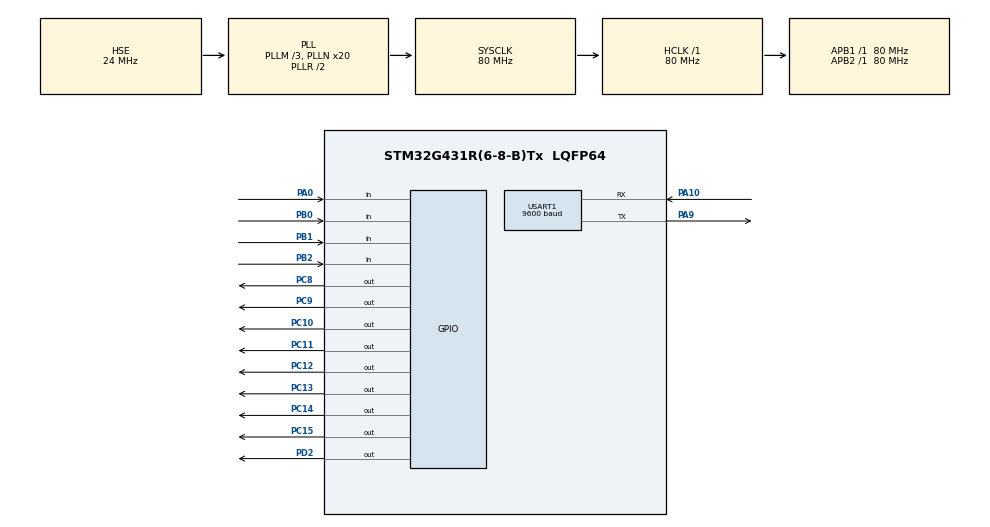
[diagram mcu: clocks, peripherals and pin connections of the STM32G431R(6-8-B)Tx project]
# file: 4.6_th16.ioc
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Dma.Request0=USART1_RX
Dma.Request1=USART1_TX
Dma.USART1_RX.0.Direction=DMA_PERIPH_TO_MEMORY
Dma.USART1_RX.0.EventEnable=DISABLE
Dma.USART1_RX.0.Instance=DMA1_Channel1
Dma.USART1_RX.0.MemDataAlignment=DMA_MDATAALIGN_BYTE
Dma.USART1_RX.0.MemInc=DMA_MINC_ENABLE
Dma.USART1_RX.0.Mode=DMA_NORMAL
Dma.USART1_RX.0.PeriphDataAlignment=DMA_PDATAALIGN_BYTE
Dma.USART1_RX.0.PeriphInc=DMA_PINC_DISABLE
Dma.USART1_RX.0.Polarity=HAL_DMAMUX_REQ_GEN_RISING
Dma.USART1_RX.0.Priority=DMA_PRIORITY_LOW
Dma.USART1_RX.0.RequestNumber=1
Dma.USART1_RX.0.SignalID=NONE
Dma.USART1_RX.0.SyncEnable=DISABLE
Dma.USART1_RX.0.SyncPolarity=HAL_DMAMUX_SYNC_NO_EVENT
Dma.USART1_RX.0.SyncRequestNumber=1
Dma.USART1_RX.0.SyncSignalID=NONE
Dma.USART1_TX.1.Direction=DMA_MEMORY_TO_PERIPH
Dma.USART1_TX.1.EventEnable=DISABLE
Dma.USART1_TX.1.Instance=DMA1_Channel2
Dma.USART1_TX.1.MemDataAlignment=DMA_MDATAALIGN_BYTE
Dma.USART1_TX.1.MemInc=DMA_MINC_ENABLE
Dma.USART1_TX.1.Mode=DMA_NORMAL
Dma.USART1_TX.1.PeriphDataAlignment=DMA_PDATAALIGN_BYTE
Dma.USART1_TX.1.PeriphInc=DMA_PINC_DISABLE
Dma.USART1_TX.1.Polarity=HAL_DMAMUX_REQ_GEN_RISING
Dma.USART1_TX.1.Priority=DMA_PRIORITY_LOW
Dma.USART1_TX.1.RequestNumber=1
Dma.USART1_TX.1.SignalID=NONE
Dma.USART1_TX.1.SyncEnable=DISABLE
Dma.USART1_TX.1.SyncPolarity=HAL_DMAMUX_SYNC_NO_EVENT
Dma.USART1_TX.1.SyncRequestNumber=1
Dma.USART1_TX.1.SyncSignalID=NONE
Mcu.Family=STM32G4
Mcu.Name=STM32G431R(6-8-B)Tx
Mcu.Package=LQFP64
NVIC.DMA1_Channel1_IRQn=true\:0\:0\:false\:false\:true\:false\:true\:true
NVIC.DMA1_Channel2_IRQn=true\:0\:0\:false\:false\:true\:false\:true\:true
NVIC.PriorityGroup=NVIC_PRIORITYGROUP_4
NVIC.RTC_Alarm_IRQn=true\:0\:0\:false\:false\:true\:true\:true\:true
NVIC.TIM1_UP_TIM16_IRQn=true\:0\:0\:false\:false\:true\:true\:true\:true
NVIC.USART1_IRQn=true\:0\:0\:false\:false\:true\:true\:true\:true
PA0.GPIO_Mode=GPIO_MODE_INPUT
PA0.GPIO_PuPd=GPIO_NOPULL
PA0.Signal=GPIO_Input
PA10.Mode=Asynchronous
PA10.Signal=USART1_RX
PA13.Mode=Serial_Wire
PA13.Signal=SYS_JTMS-SWDIO
PA14.Mode=Serial_Wire
PA14.Signal=SYS_JTCK-SWCLK
PA9.Mode=Asynchronous
PA9.Signal=USART1_TX
PB0.GPIO_Mode=GPIO_MODE_INPUT
PB0.GPIO_PuPd=GPIO_NOPULL
PB0.Signal=GPIO_Input
PB1.GPIO_Mode=GPIO_MODE_INPUT
PB1.GPIO_PuPd=GPIO_NOPULL
PB1.Signal=GPIO_Input
PB2.GPIO_Mode=GPIO_MODE_INPUT
PB2.GPIO_PuPd=GPIO_NOPULL
PB2.Signal=GPIO_Input
PC10.GPIO_ModeDefaultOutputPP=GPIO_MODE_OUTPUT_PP
PC10.PinState=GPIO_PIN_SET
PC10.Signal=GPIO_Output
PC11.GPIO_ModeDefaultOutputPP=GPIO_MODE_OUTPUT_PP
PC11.PinState=GPIO_PIN_SET
PC11.Signal=GPIO_Output
PC12.GPIO_ModeDefaultOutputPP=GPIO_MODE_OUTPUT_PP
PC12.PinState=GPIO_PIN_SET
PC12.Signal=GPIO_Output
PC13.GPIO_ModeDefaultOutputPP=GPIO_MODE_OUTPUT_PP
PC13.PinState=GPIO_PIN_SET
PC13.Signal=GPIO_Output
PC14-OSC32_IN.GPIO_ModeDefaultOutputPP=GPIO_MODE_OUTPUT_PP
PC14-OSC32_IN.PinState=GPIO_PIN_SET
PC14-OSC32_IN.Signal=GPIO_Output
PC15-OSC32_OUT.GPIO_ModeDefaultOutputPP=GPIO_MODE_OUTPUT_PP
PC15-OSC32_OUT.PinState=GPIO_PIN_SET
PC15-OSC32_OUT.Signal=GPIO_Output
PC8.GPIO_ModeDefaultOutputPP=GPIO_MODE_OUTPUT_PP
PC8.PinState=GPIO_PIN_SET
PC8.Signal=GPIO_Output
PC9.GPIO_ModeDefaultOutputPP=GPIO_MODE_OUTPUT_PP
PC9.PinState=GPIO_PIN_SET
PC9.Signal=GPIO_Output
PD2.GPIO_ModeDefaultOutputPP=GPIO_MODE_OUTPUT_PP
PD2.PinState=GPIO_PIN_SET
PD2.Signal=GPIO_Output
PF0-OSC_IN.Mode=HSE-External-Oscillator
PF0-OSC_IN.Signal=RCC_OSC_IN
PF1-OSC_OUT.Mode=HSE-External-Oscillator
PF1-OSC_OUT.Signal=RCC_OSC_OUT
ProjectManager.HeapSize=0x200
ProjectManager.StackSize=0x400
ProjectManager.TargetToolchain=MDK-ARM V5.32
RCC.ADC12Freq_Value=80000000
RCC.AHBFreq_Value=80000000
RCC.APB1Freq_Value=80000000
RCC.APB1TimFreq_Value=80000000
RCC.APB2Freq_Value=80000000
RCC.APB2TimFreq_Value=80000000
RCC.CortexFreq_Value=80000000
RCC.EXTERNAL_CLOCK_VALUE=12288000
RCC.HCLKFreq_Value=80000000
RCC.HSE_VALUE=24000000
RCC.HSI48_VALUE=48000000
RCC.HSI_VALUE=16000000
RCC.LSE_VALUE=32768
RCC.PLLM=RCC_PLLM_DIV3
RCC.PLLN=20
RCC.PLLSourceVirtual=RCC_PLLSOURCE_HSE
RCC.SYSCLKFreq_VALUE=80000000
RCC.SYSCLKSource=RCC_SYSCLKSOURCE_PLLCLK
RCC.USBFreq_Value=80000000
RCC.VCOOutputFreq_Value=160000000
RTC.Alarm-Alarm\ A=RTC_ALARM_A
RTC.AlarmMaskDateWeekDay-Alarm\ A=RTC_ALARMMASK_DATEWEEKDAY
RTC.Date=12
RTC.Format=RTC_FORMAT_BIN
RTC.Hours=20
RTC.Hours_A-Alarm\ A=20
RTC.Minutes=10
RTC.Minutes_A-Alarm\ A=10
RTC.Month=RTC_MONTH_APRIL
RTC.Seconds=19
RTC.Seconds_A-Alarm\ A=30
RTC.WeekDay=RTC_WEEKDAY_SUNDAY
RTC.Year=26
TIM1.PeriodNoDither=1000-1
TIM1.Prescaler=80-1
USART1.BaudRate=9600
USART1.VirtualMode-Asynchronous=VM_ASYNC
VP_RTC_VS_RTC_Activate.Mode=RTC_Enabled
VP_RTC_VS_RTC_Alarm_A_Intern.Mode=Alarm A
VP_RTC_VS_RTC_Calendar.Mode=RTC_Calendar
VP_SYS_VS_DBSignals.Mode=DisableDeadBatterySignals
VP_TIM1_VS_ClockSourceINT.Mode=Internal
board=custom

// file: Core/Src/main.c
/* USER CODE BEGIN Header */
/**
  ******************************************************************************
  * @file           : main.c
  * @brief          : Main program body
  ******************************************************************************
  * @attention
  *
  * Copyright (c) 2026 STMicroelectronics.
  * All rights reserved.
  *
  * This software is licensed under terms that can be found in the LICENSE file
  * in the root directory of this software component.
  * If no LICENSE file comes with this software, it is provided AS-IS.
  *
  ******************************************************************************
  */
/* USER CODE END Header */
#include "main.h"
#include "dma.h"
#include "rtc.h"
#include "tim.h"
#include "usart.h"
#include "gpio.h"

/* USER CODE BEGIN Includes */
#include "headfile.h"
/* USER CODE END Includes */

/* USER CODE BEGIN PV */
	extern DMA_HandleTypeDef hdma_usart1_rx;
	uint8_t rx_buff[20];
/* USER CODE END PV */

void SystemClock_Config(void);

int main(void)
{

  /* MCU Configuration--------------------------------------------------------*/

  /* Reset of all peripherals, Initializes the Flash interface and the Systick. */
  HAL_Init();

  /* Configure the system clock */
  SystemClock_Config();

  /* Initialize all configured peripherals */
  MX_GPIO_Init();
  MX_DMA_Init();
  MX_TIM1_Init();
  MX_USART1_UART_Init();
  MX_RTC_Init();
  /* USER CODE BEGIN 2 */
	HAL_GPIO_WritePin(GPIOD,GPIO_PIN_2,GPIO_PIN_RESET);
	HAL_TIM_Base_Start_IT(&htim1);

	LCD_Init();
	LCD_Clear(Black);
	LCD_SetBackColor(Black);
	LCD_SetTextColor(White);

	HAL_UARTEx_ReceiveToIdle_DMA(&huart1,rx_buff,20);
	__HAL_DMA_DISABLE_IT(&hdma_usart1_rx,DMA_IT_HT);
	// 关闭 DMA 的“半完成中断”，防止一帧数据太长被切成两半触发回调
  /* USER CODE END 2 */

  /* Infinite loop */
  /* USER CODE BEGIN WHILE */
  while (1)
  {
	  task();
	  if(key_short)
	  {
		switch(key_short)
		{
			case 1:{b++;}break;
				case 2:{}break;
					case 3:{}break;
						case 4:{}break;
		}key_short=0;
	  }

	  if(key_long)
	  {
		switch(key_long)
		{
			case 1:{b--;}break;
				case 2:{}break;
					case 3:{}break;
						case 4:{}break;
		}key_long=0;
	  }

    /* USER CODE END WHILE */

  }
}

void SystemClock_Config(void)
{
  RCC_OscInitTypeDef RCC_OscInitStruct = {0};
  RCC_ClkInitTypeDef RCC_ClkInitStruct = {0};

  /** Configure the main internal regulator output voltage
  */
  HAL_PWREx_ControlVoltageScaling(PWR_REGULATOR_VOLTAGE_SCALE1);

  /** Initializes the RCC Oscillators according to the specified parameters
  * in the RCC_OscInitTypeDef structure.
  */
  RCC_OscInitStruct.OscillatorType = RCC_OSCILLATORTYPE_LSI|RCC_OSCILLATORTYPE_HSE;
  RCC_OscInitStruct.HSEState = RCC_HSE_ON;
  RCC_OscInitStruct.LSIState = RCC_LSI_ON;
  RCC_OscInitStruct.PLL.PLLState = RCC_PLL_ON;
  RCC_OscInitStruct.PLL.PLLSource = RCC_PLLSOURCE_HSE;
  RCC_OscInitStruct.PLL.PLLM = RCC_PLLM_DIV3;
  RCC_OscInitStruct.PLL.PLLN = 20;
  RCC_OscInitStruct.PLL.PLLP = RCC_PLLP_DIV2;
  RCC_OscInitStruct.PLL.PLLQ = RCC_PLLQ_DIV2;
  RCC_OscInitStruct.PLL.PLLR = RCC_PLLR_DIV2;
  if (HAL_RCC_OscConfig(&RCC_OscInitStruct) != HAL_OK)
  {
    Error_Handler();
  }

  /** Initializes the CPU, AHB and APB buses clocks
  */
  RCC_ClkInitStruct.ClockType = RCC_CLOCKTYPE_HCLK|RCC_CLOCKTYPE_SYSCLK
                              |RCC_CLOCKTYPE_PCLK1|RCC_CLOCKTYPE_PCLK2;
  RCC_ClkInitStruct.SYSCLKSource = RCC_SYSCLKSOURCE_PLLCLK;
  RCC_ClkInitStruct.AHBCLKDivider = RCC_SYSCLK_DIV1;
  RCC_ClkInitStruct.APB1CLKDivider = RCC_HCLK_DIV1;
  RCC_ClkInitStruct.APB2CLKDivider = RCC_HCLK_DIV1;

  if (HAL_RCC_ClockConfig(&RCC_ClkInitStruct, FLASH_LATENCY_2) != HAL_OK)
  {
    Error_Handler();
  }
}

/* USER CODE BEGIN 4 */

int fputc(int ch,FILE *f)
{
	HAL_UART_Transmit(&huart1,(u8 *)&ch,1,50);
	return ch;
}

/* USER CODE END 4 */

void Error_Handler(void)
{
  __disable_irq();
  while (1)
  {
  }
}
